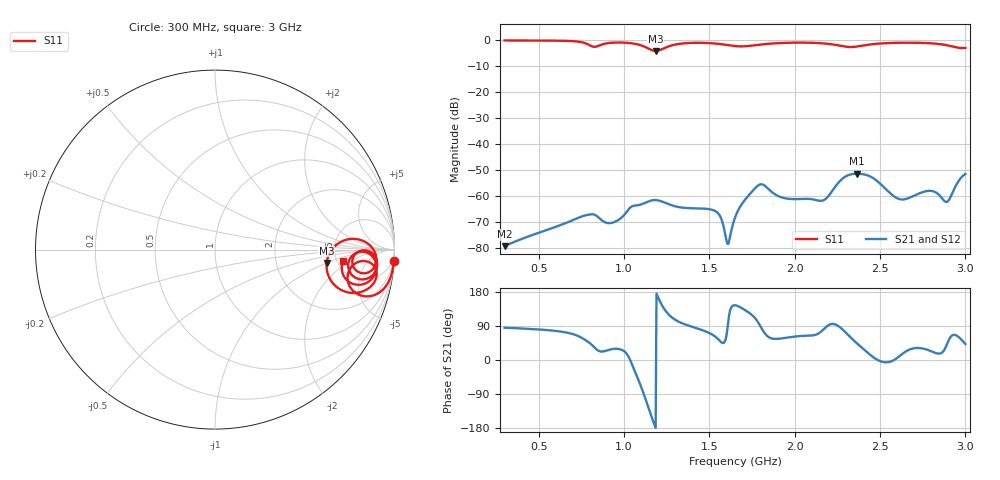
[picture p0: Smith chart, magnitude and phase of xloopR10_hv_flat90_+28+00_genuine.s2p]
! xloopR10_hv_flat90_+28+00_genuine, gap C 0.80 pF
! simulated by sim/fixtures_fdtd.py (S12 = S21, S22 not computed)
# HZ S RI R 50
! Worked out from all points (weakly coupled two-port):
!   541 points, 300 MHz to 3 GHz, reference 50 ohm
!   highest |S21| = -51.48 dB at 2.365 GHz (marker M1); lowest = -79.5 dB at 300 MHz (marker M2)
!   lowest |S11| = -4.1 dB at 1.185 GHz (marker M3), VSWR 4.36, Z = 205 - j50.6 ohm
!   |S11| at or under -10 dB: nowhere
!   |S22| runs from - to - dB; largest |S21 - S12| = 0
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3e8  0.9972 -0.061  8.9e-06 0.000106  8.9e-06 0.000106  0 0
7.5e8  0.8918 -0.2518  0.000204 0.00034  0.000204 0.00034  0 0
8.2e8  0.7385 -0.1637  0.000354 0.000258  0.000354 0.000258  0 0
9.3e8  0.8969 -0.1109  0.000264 0.000146  0.000264 0.000146  0 0
1.1e9  0.7649 -0.2416  0.000225 -0.000644  0.000225 -0.000644  0 0
1.185e9  0.6221 -0.0751  -0.000826 -8.4e-06  -0.000826 -8.4e-06  0 0
1.2e9  0.635 -0.0273  -0.000784 0.000219  -0.000784 0.000219  0 0
1.345e9  0.8759 0.00945  -6.25e-05 0.000585  -6.25e-05 0.000585  0 0
1.535e9  0.8618 -0.1234  0.000242 0.000444  0.000242 0.000444  0 0
1.61e9  0.8009 -0.1258  -2.02e-05 0.000115  -2.02e-05 0.000115  0 0
1.65e9  0.7731 -0.0997  -0.000307 0.00022  -0.000307 0.00022  0 0
1.8e9  0.8321 -0.00385  5.02e-05 0.00166  5.02e-05 0.00166  0 0
1.93e9  0.8939 -0.0424  0.000495 0.000772  0.000495 0.000772  0 0
2.1e9  0.8925 -0.1234  0.000367 0.000776  0.000367 0.000776  0 0
2.175e9  0.8584 -0.1567  9.62e-05 0.000835  9.62e-05 0.000835  0 0
2.28e9  0.7614 -0.1397  0.000348 0.00211  0.000348 0.00211  0 0
2.365e9  0.7628 -0.0356  0.00193 0.00184  0.00193 0.00184  0 0
2.55e9  0.8888 -0.0554  0.00119 -0.000115  0.00119 -0.000115  0 0
2.63e9  0.8986 -0.0929  0.000815 0.000233  0.000815 0.000233  0 0
2.805e9  0.8597 -0.1757  0.00114 0.000465  0.00114 0.000465  0 0
2.89e9  0.785 -0.195  0.000586 0.000483  0.000586 0.000483  0 0
3e9  0.7146 -0.066  0.00196 0.00177  0.00196 0.00177  0 0
